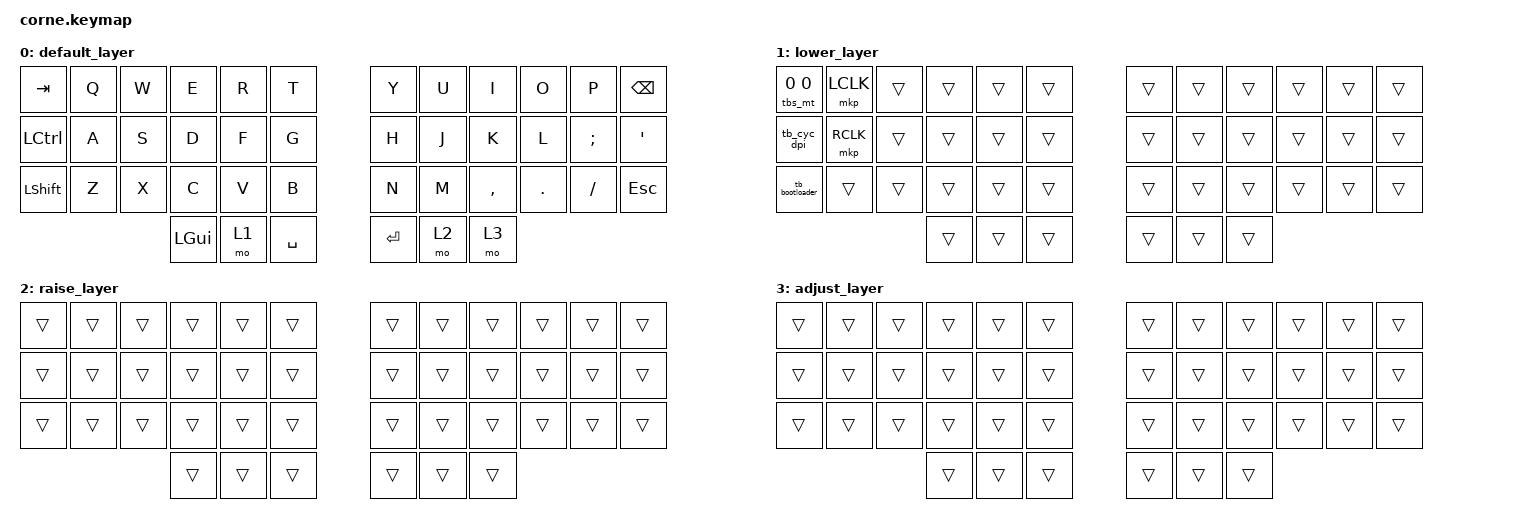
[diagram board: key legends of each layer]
/*
 * Copyright (c) 2020 The ZMK Contributors
 *
 * SPDX-License-Identifier: MIT
 */

#include <behaviors.dtsi>
#include <dt-bindings/zmk/keys.h>
#include <dt-bindings/zmk/mouse.h>
#include <interfaces/hid-trackball.dtsi>

&hid_trackball_interface {
    automouse-layer = <1>;
    automouse-layer-timeout-ms = <600>;
    scroll-layers = <2>;
    snipe-layers = <3>;
};

/ {
        keymap {
                compatible = "zmk,keymap";

                default_layer {
                        bindings = <
   &kp TAB   &kp Q &kp W &kp E &kp R &kp T   &kp Y &kp U  &kp I     &kp O   &kp P    &kp BSPC
   &kp LCTRL &kp A &kp S &kp D &kp F &kp G   &kp H &kp J  &kp K     &kp L   &kp SEMI &kp SQT
   &kp LSHFT &kp Z &kp X &kp C &kp V &kp B   &kp N &kp M  &kp COMMA &kp DOT &kp FSLH &kp ESC
                  &kp LGUI &mo 1 &kp SPACE   &kp RET &mo 2 &mo 3
                        >;
                };
                lower_layer {
                        bindings = <
   &tbs_mt 0 0    &mkp LCLK &trans &trans &trans &trans   &trans &trans &trans &trans &trans &trans
   &tb_cyc_dpi    &mkp RCLK &trans &trans &trans &trans   &trans &trans &trans &trans &trans &trans
   &tb_bootloader &trans    &trans &trans &trans &trans   &trans &trans &trans &trans &trans &trans
                            &trans &trans &trans   &trans &trans &trans
                        >;
                };

                raise_layer {
                        bindings = <
   &trans &trans &trans &trans &trans &trans   &trans &trans &trans &trans &trans &trans
   &trans &trans &trans &trans &trans &trans   &trans &trans &trans &trans &trans &trans
   &trans &trans &trans &trans &trans &trans   &trans &trans &trans &trans &trans &trans
                        &trans &trans &trans   &trans &trans &trans
                        >;
                };

                adjust_layer {
                        bindings = <
   &trans &trans &trans &trans &trans &trans   &trans &trans &trans &trans &trans &trans
   &trans &trans &trans &trans &trans &trans   &trans &trans &trans &trans &trans &trans
   &trans &trans &trans &trans &trans &trans   &trans &trans &trans &trans &trans &trans
                        &trans &trans &trans   &trans &trans &trans
                        >;
                };
        };
};
